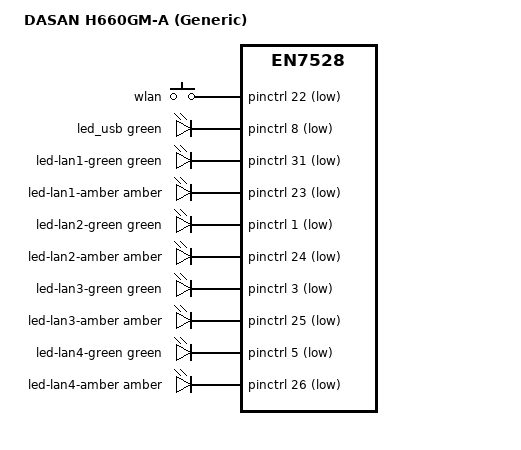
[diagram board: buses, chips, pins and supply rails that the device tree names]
// SPDX-License-Identifier: (GPL-2.0-only OR BSD-2-Clause)
/dts-v1/;

#include "en7528_dasan_h660gm-a.dtsi"

/ {
	model = "DASAN H660GM-A (Generic)";
	compatible = "dasan,h660gm-a-generic", "econet,en7528";

	keys {
		key-wlan {
			label = "wlan";
			gpios = <&pinctrl 22 GPIO_ACTIVE_LOW>;
			linux,code = <KEY_RFKILL>;
		};
	};

	leds {
		led_usb: usb {
			color = <LED_COLOR_ID_GREEN>;
			function = LED_FUNCTION_USB;
			gpios = <&pinctrl 8 GPIO_ACTIVE_LOW>;
			linux,default-trigger = "usbport";
			trigger-sources = <&usb>;
		};

		led-lan1-green {
			color = <LED_COLOR_ID_GREEN>;
			function = LED_FUNCTION_LAN;
			function-enumerator = <1>;
			gpios = <&pinctrl 31 GPIO_ACTIVE_LOW>;
		};

		led-lan1-amber {
			color = <LED_COLOR_ID_AMBER>;
			function = LED_FUNCTION_LAN;
			function-enumerator = <1>;
			gpios = <&pinctrl 23 GPIO_ACTIVE_LOW>;
		};

		led-lan2-green {
			color = <LED_COLOR_ID_GREEN>;
			function = LED_FUNCTION_LAN;
			function-enumerator = <2>;
			gpios = <&pinctrl 1 GPIO_ACTIVE_LOW>;
		};

		led-lan2-amber {
			color = <LED_COLOR_ID_AMBER>;
			function = LED_FUNCTION_LAN;
			function-enumerator = <2>;
			gpios = <&pinctrl 24 GPIO_ACTIVE_LOW>;
		};

		led-lan3-green {
			color = <LED_COLOR_ID_GREEN>;
			function = LED_FUNCTION_LAN;
			function-enumerator = <3>;
			gpios = <&pinctrl 3 GPIO_ACTIVE_LOW>;
		};

		led-lan3-amber {
			color = <LED_COLOR_ID_AMBER>;
			function = LED_FUNCTION_LAN;
			function-enumerator = <3>;
			gpios = <&pinctrl 25 GPIO_ACTIVE_LOW>;
		};

		led-lan4-green {
			color = <LED_COLOR_ID_GREEN>;
			function = LED_FUNCTION_LAN;
			function-enumerator = <4>;
			gpios = <&pinctrl 5 GPIO_ACTIVE_LOW>;
		};

		led-lan4-amber {
			color = <LED_COLOR_ID_AMBER>;
			function = LED_FUNCTION_LAN;
			function-enumerator = <4>;
			gpios = <&pinctrl 26 GPIO_ACTIVE_LOW>;
		};
	};
};

&partitions {
	/* Concatenated with tclinux_rootfs to form the UBI volume */
	root1: partition@60c0000 {
		label = "unknown";
		reg = <0x60c0000 0xd00000>;
	};

	partition@6dc0000 {
		label = "reservearea";
		reg = <0x6dc0000 0x240000>;
		nvmem-layout {
			compatible = "fixed-layout";
			#address-cells = <1>;
			#size-cells = <1>;

			eeprom_reservearea_40000: eeprom@40000 {
				reg = <0x40000 0x4da8>;
			};

			eeprom_reservearea_1c0000: eeprom@1c0000 {
				reg = <0x1c0000 0x400>;
			};
		};
	};
};

/* Sockets are numbered in reverse switch port order: LAN1 is port 4. */
&gsw_port1 {
	label = "lan4";
};

&gsw_port2 {
	label = "lan3";
};

&gsw_port3 {
	label = "lan2";
};

&gsw_port4 {
	label = "lan1";
};
